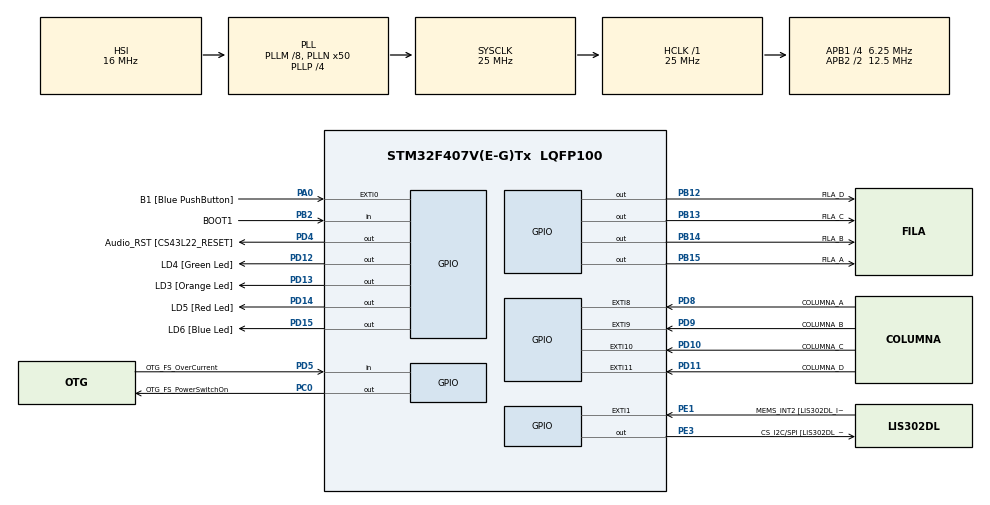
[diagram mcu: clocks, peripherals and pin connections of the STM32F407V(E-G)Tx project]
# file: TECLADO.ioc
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Mcu.Family=STM32F4
Mcu.Name=STM32F407V(E-G)Tx
Mcu.Package=LQFP100
NVIC.EXTI15_10_IRQn=true\:0\:0\:false\:false\:true\:true\:true\:true
NVIC.EXTI9_5_IRQn=true\:0\:0\:false\:false\:true\:true\:true\:true
NVIC.PriorityGroup=NVIC_PRIORITYGROUP_0
PA0-WKUP.GPIO_Label=B1 [Blue PushButton]
PA0-WKUP.Signal=GPXTI0
PA10.GPIO_Label=OTG_FS_ID
PA10.GPIO_Mode=GPIO_MODE_AF_PP
PA10.GPIO_PuPd=GPIO_NOPULL
PA10.GPIO_Speed=GPIO_SPEED_FREQ_LOW
PA10.Signal=USB_OTG_FS_ID
PA11.GPIO_Label=OTG_FS_DM
PA11.GPIO_Mode=GPIO_MODE_AF_PP
PA11.GPIO_PuPd=GPIO_NOPULL
PA11.GPIO_Speed=GPIO_SPEED_FREQ_LOW
PA11.Signal=USB_OTG_FS_DM
PA12.GPIO_Label=OTG_FS_DP
PA12.GPIO_Mode=GPIO_MODE_AF_PP
PA12.GPIO_PuPd=GPIO_NOPULL
PA12.GPIO_Speed=GPIO_SPEED_FREQ_LOW
PA12.Signal=USB_OTG_FS_DP
PA13.GPIO_Label=SWDIO
PA13.Signal=SYS_JTMS-SWDIO
PA14.GPIO_Label=SWCLK
PA14.Signal=SYS_JTCK-SWCLK
PA4.GPIO_Label=I2S3_WS [CS43L22_LRCK]
PA4.GPIO_Mode=GPIO_MODE_AF_PP
PA4.GPIO_PuPd=GPIO_NOPULL
PA4.GPIO_Speed=GPIO_SPEED_FREQ_LOW
PA4.Signal=I2S3_WS
PA5.GPIO_Label=SPI1_SCK [LIS302DL_SCL/SPC]
PA5.GPIO_Mode=GPIO_MODE_AF_PP
PA5.GPIO_PuPd=GPIO_NOPULL
PA5.GPIO_Speed=GPIO_SPEED_FREQ_LOW
PA5.Signal=SPI1_SCK
PA6.GPIO_Label=SPI1_MISO [LIS302DL_SDO]
PA6.GPIO_Mode=GPIO_MODE_AF_PP
PA6.GPIO_PuPd=GPIO_NOPULL
PA6.GPIO_Speed=GPIO_SPEED_FREQ_LOW
PA6.Signal=SPI1_MISO
PA7.GPIO_Label=SPI1_MOSI [LIS302DL_SDA/SDI/SDO]
PA7.GPIO_Mode=GPIO_MODE_AF_PP
PA7.GPIO_PuPd=GPIO_NOPULL
PA7.GPIO_Speed=GPIO_SPEED_FREQ_LOW
PA7.Signal=SPI1_MOSI
PA9.GPIO_Label=VBUS_FS
PA9.GPIO_Mode=GPIO_MODE_INPUT
PA9.GPIO_PuPd=GPIO_NOPULL
PA9.Signal=USB_OTG_FS_VBUS
PB10.GPIO_Label=CLK_IN [MP45DT02_CLK]
PB10.GPIO_Mode=GPIO_MODE_AF_PP
PB10.GPIO_PuPd=GPIO_NOPULL
PB10.GPIO_Speed=GPIO_SPEED_FREQ_LOW
PB10.Signal=I2S2_CK
PB12.GPIO_Label=FILA_D
PB12.Signal=GPIO_Output
PB13.GPIO_Label=FILA_C
PB13.Signal=GPIO_Output
PB14.GPIO_Label=FILA_B
PB14.Signal=GPIO_Output
PB15.GPIO_Label=FILA_A
PB15.Signal=GPIO_Output
PB2.GPIO_Label=BOOT1
PB2.GPIO_Mode=GPIO_MODE_INPUT
PB2.GPIO_PuPd=GPIO_NOPULL
PB2.Signal=GPIO_Input
PB3.GPIO_Label=SWO
PB3.Signal=SYS_JTDO-SWO
PB6.GPIO_Label=Audio_SCL [CS43L22_SCL]
PB6.GPIO_Mode=GPIO_MODE_AF_OD
PB6.GPIO_PuPd=GPIO_NOPULL
PB6.GPIO_Speed=GPIO_SPEED_FREQ_LOW
PB6.Signal=I2C1_SCL
PB9.GPIO_Label=Audio_SDA [CS43L22_SDA]
PB9.GPIO_Mode=GPIO_MODE_AF_OD
PB9.GPIO_PuPd=GPIO_NOPULL
PB9.GPIO_Speed=GPIO_SPEED_FREQ_LOW
PB9.Signal=I2C1_SDA
PC0.GPIO_Label=OTG_FS_PowerSwitchOn
PC0.GPIO_PuPd=GPIO_NOPULL
PC0.GPIO_Speed=GPIO_SPEED_FREQ_LOW
PC0.PinState=GPIO_PIN_SET
PC0.Signal=GPIO_Output
PC10.GPIO_Label=I2S3_SCK [CS43L22_SCLK]
PC10.GPIO_Mode=GPIO_MODE_AF_PP
PC10.GPIO_PuPd=GPIO_NOPULL
PC10.GPIO_Speed=GPIO_SPEED_FREQ_LOW
PC10.Signal=I2S3_CK
PC12.GPIO_Label=I2S3_SD [CS43L22_SDIN]
PC12.GPIO_Mode=GPIO_MODE_AF_PP
PC12.GPIO_PuPd=GPIO_NOPULL
PC12.GPIO_Speed=GPIO_SPEED_FREQ_LOW
PC12.Signal=I2S3_SD
PC14-OSC32_IN.GPIO_Label=PC14-OSC32_IN
PC14-OSC32_IN.Signal=RCC_OSC32_IN
PC15-OSC32_OUT.GPIO_Label=PC15-OSC32_OUT
PC15-OSC32_OUT.Signal=RCC_OSC32_OUT
PC3.GPIO_Label=PDM_OUT [MP45DT02_DOUT]
PC3.GPIO_Mode=GPIO_MODE_AF_PP
PC3.GPIO_PuPd=GPIO_NOPULL
PC3.GPIO_Speed=GPIO_SPEED_FREQ_LOW
PC3.Signal=I2S2_SD
PC7.GPIO_Label=I2S3_MCK [CS43L22_MCLK]
PC7.GPIO_Mode=GPIO_MODE_AF_PP
PC7.GPIO_PuPd=GPIO_NOPULL
PC7.GPIO_Speed=GPIO_SPEED_FREQ_LOW
PC7.Signal=I2S3_MCK
PD10.GPIO_Label=COLUMNA_C
PD10.GPIO_ModeDefaultEXTI=GPIO_MODE_IT_RISING
PD10.Signal=GPXTI10
PD11.GPIO_Label=COLUMNA_D
PD11.Signal=GPXTI11
PD12.GPIO_Label=LD4 [Green Led]
PD12.GPIO_PuPd=GPIO_NOPULL
PD12.GPIO_Speed=GPIO_SPEED_FREQ_LOW
PD12.Signal=GPIO_Output
PD13.GPIO_Label=LD3 [Orange Led]
PD13.GPIO_PuPd=GPIO_NOPULL
PD13.GPIO_Speed=GPIO_SPEED_FREQ_LOW
PD13.Signal=GPIO_Output
PD14.GPIO_Label=LD5 [Red Led]
PD14.GPIO_PuPd=GPIO_NOPULL
PD14.GPIO_Speed=GPIO_SPEED_FREQ_LOW
PD14.Signal=GPIO_Output
PD15.GPIO_Label=LD6 [Blue Led]
PD15.GPIO_PuPd=GPIO_NOPULL
PD15.GPIO_Speed=GPIO_SPEED_FREQ_LOW
PD15.Signal=GPIO_Output
PD4.GPIO_Label=Audio_RST [CS43L22_RESET]
PD4.GPIO_PuPd=GPIO_NOPULL
PD4.GPIO_Speed=GPIO_SPEED_FREQ_LOW
PD4.Signal=GPIO_Output
PD5.GPIO_Label=OTG_FS_OverCurrent
PD5.GPIO_Mode=GPIO_MODE_INPUT
PD5.GPIO_PuPd=GPIO_NOPULL
PD5.Signal=GPIO_Input
PD8.GPIO_Label=COLUMNA_A
PD8.GPIO_ModeDefaultEXTI=GPIO_MODE_IT_RISING
PD8.Signal=GPXTI8
PD9.GPIO_Label=COLUMNA_B
PD9.GPIO_ModeDefaultEXTI=GPIO_MODE_IT_RISING
PD9.Signal=GPXTI9
PE1.GPIO_Label=MEMS_INT2 [LIS302DL_INT2]
PE1.GPIO_ModeDefaultEXTI=GPIO_MODE_EVT_RISING
PE1.GPIO_PuPd=GPIO_NOPULL
PE1.Signal=GPXTI1
PE3.GPIO_Label=CS_I2C/SPI [LIS302DL_CS_I2C/SPI]
PE3.GPIO_PuPd=GPIO_NOPULL
PE3.GPIO_Speed=GPIO_SPEED_FREQ_LOW
PE3.Signal=GPIO_Output
PH0-OSC_IN.GPIO_Label=PH0-OSC_IN
PH0-OSC_IN.Signal=RCC_OSC_IN
PH1-OSC_OUT.GPIO_Label=PH1-OSC_OUT
PH1-OSC_OUT.Signal=RCC_OSC_OUT
ProjectManager.HeapSize=0x200
ProjectManager.StackSize=0x400
ProjectManager.TargetToolchain=EWARM V8.50
RCC.48MHZClocksFreq_Value=14285714.285714285
RCC.AHBFreq_Value=25000000
RCC.APB1CLKDivider=RCC_HCLK_DIV4
RCC.APB1Freq_Value=6250000
RCC.APB1TimFreq_Value=12500000
RCC.APB2CLKDivider=RCC_HCLK_DIV2
RCC.APB2Freq_Value=12500000
RCC.APB2TimFreq_Value=25000000
RCC.CortexFreq_Value=25000000
RCC.HCLKFreq_Value=25000000
RCC.HSE_VALUE=8000000
RCC.HSI_VALUE=16000000
RCC.LSE_VALUE=32768
RCC.PLLM=8
RCC.PLLN=50
RCC.PLLP=RCC_PLLP_DIV4
RCC.PLLQ=7
RCC.SYSCLKFreq_VALUE=25000000
RCC.SYSCLKSource=RCC_SYSCLKSOURCE_PLLCLK
RCC.VCOOutputFreq_Value=100000000
board=STM32F407G-DISC1

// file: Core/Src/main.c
/* USER CODE BEGIN Header */
/**
  ******************************************************************************
  * @file           : main.c
  * @brief          : Main program body
  ******************************************************************************
  * @attention
  *
  * Copyright (c) 2026 STMicroelectronics.
  * All rights reserved.
  *
  * This software is licensed under terms that can be found in the LICENSE file
  * in the root directory of this software component.
  * If no LICENSE file comes with this software, it is provided AS-IS.
  *
  ******************************************************************************
  */
/* USER CODE END Header */
#include "main.h"

/* USER CODE BEGIN PD */

//ESTO ESTA EN EL "main.h"

//#define FILA_D_Pin GPIO_PIN_12
//#define FILA_D_GPIO_Port GPIOB

//#define FILA_C_Pin GPIO_PIN_13
//#define FILA_C_GPIO_Port GPIOB

//#define FILA_B_Pin GPIO_PIN_14
//#define FILA_B_GPIO_Port GPIOB

//#define FILA_A_Pin GPIO_PIN_15
//#define FILA_A_GPIO_Port GPIOB

//#define COLUMNA_A_Pin GPIO_PIN_8
//#define COLUMNA_A_GPIO_Port GPIOD

//#define COLUMNA_B_Pin GPIO_PIN_9
//#define COLUMNA_B_GPIO_Port GPIOD

//#define COLUMNA_C_Pin GPIO_PIN_10
//#define COLUMNA_C_GPIO_Port GPIOD

//#define COLUMNA_D_Pin GPIO_PIN_11
//#define COLUMNA_D_GPIO_Port GPIOD

//#define LD6_Pin GPIO_PIN_15
//#define LD6_GPIO_Port GPIOD

/* USER CODE END PD */

/* USER CODE BEGIN PV */
volatile uint32_t ultimo_rebote = 0;
volatile uint8_t teclado_flag = 0;

//Determina que columna llama a interrupcion
//0 => ya se atendio/ninguna llama
//1 => columna A
//2 => columna B
//3 => columna C
//4 => columna D
uint8_t teclado_column = 0;

// Determina que tecla se apreto
//	0	1	2	3
//	4	5	6	7
//	8	9	10	11
//	12	13	14	15
// 					16 ninguna
uint8_t Teclado_Accionado = 16;

/* USER CODE END PV */

void SystemClock_Config(void);
static void MX_GPIO_Init(void);

int main(void)
{

  /* MCU Configuration--------------------------------------------------------*/

  /* Reset of all peripherals, Initializes the Flash interface and the Systick. */
  HAL_Init();

  /* USER CODE BEGIN Init */
  INICIO_TECLADO();
  /* USER CODE END Init */

  /* Configure the system clock */
  SystemClock_Config();

  /* Initialize all configured peripherals */
  MX_GPIO_Init();

  /* Infinite loop */
  while (1)
  {

	  VERIFICAR_TECLA(teclado_column);

	  if (Teclado_Accionado == 0)
		  HAL_GPIO_WritePin(LD6_GPIO_Port, LD6_Pin, GPIO_PIN_SET);
	  if (Teclado_Accionado == 1)
		  HAL_GPIO_WritePin(LD6_GPIO_Port, LD6_Pin, GPIO_PIN_RESET);

  }
}

void SystemClock_Config(void)
{
  RCC_OscInitTypeDef RCC_OscInitStruct = {0};
  RCC_ClkInitTypeDef RCC_ClkInitStruct = {0};

  /** Configure the main internal regulator output voltage
  */
  __HAL_RCC_PWR_CLK_ENABLE();
  __HAL_PWR_VOLTAGESCALING_CONFIG(PWR_REGULATOR_VOLTAGE_SCALE1);

  /** Initializes the RCC Oscillators according to the specified parameters
  * in the RCC_OscInitTypeDef structure.
  */
  RCC_OscInitStruct.OscillatorType = RCC_OSCILLATORTYPE_HSI;
  RCC_OscInitStruct.HSIState = RCC_HSI_ON;
  RCC_OscInitStruct.HSICalibrationValue = RCC_HSICALIBRATION_DEFAULT;
  RCC_OscInitStruct.PLL.PLLState = RCC_PLL_ON;
  RCC_OscInitStruct.PLL.PLLSource = RCC_PLLSOURCE_HSI;
  RCC_OscInitStruct.PLL.PLLM = 8;
  RCC_OscInitStruct.PLL.PLLN = 50;
  RCC_OscInitStruct.PLL.PLLP = RCC_PLLP_DIV4;
  RCC_OscInitStruct.PLL.PLLQ = 7;
  if (HAL_RCC_OscConfig(&RCC_OscInitStruct) != HAL_OK)
  {
    Error_Handler();
  }

  /** Initializes the CPU, AHB and APB buses clocks
  */
  RCC_ClkInitStruct.ClockType = RCC_CLOCKTYPE_HCLK|RCC_CLOCKTYPE_SYSCLK
                              |RCC_CLOCKTYPE_PCLK1|RCC_CLOCKTYPE_PCLK2;
  RCC_ClkInitStruct.SYSCLKSource = RCC_SYSCLKSOURCE_PLLCLK;
  RCC_ClkInitStruct.AHBCLKDivider = RCC_SYSCLK_DIV1;
  RCC_ClkInitStruct.APB1CLKDivider = RCC_HCLK_DIV4;
  RCC_ClkInitStruct.APB2CLKDivider = RCC_HCLK_DIV2;

  if (HAL_RCC_ClockConfig(&RCC_ClkInitStruct, FLASH_LATENCY_0) != HAL_OK)
  {
    Error_Handler();
  }
}

static void MX_GPIO_Init(void)
{
  GPIO_InitTypeDef GPIO_InitStruct = {0};

  /* GPIO Ports Clock Enable */
  __HAL_RCC_GPIOE_CLK_ENABLE();
  __HAL_RCC_GPIOC_CLK_ENABLE();
  __HAL_RCC_GPIOH_CLK_ENABLE();
  __HAL_RCC_GPIOA_CLK_ENABLE();
  __HAL_RCC_GPIOB_CLK_ENABLE();
  __HAL_RCC_GPIOD_CLK_ENABLE();

  /*Configure GPIO pin Output Level */
  HAL_GPIO_WritePin(CS_I2C_SPI_GPIO_Port, CS_I2C_SPI_Pin, GPIO_PIN_RESET);

  /*Configure GPIO pin Output Level */
  HAL_GPIO_WritePin(OTG_FS_PowerSwitchOn_GPIO_Port, OTG_FS_PowerSwitchOn_Pin, GPIO_PIN_SET);

  /*Configure GPIO pin Output Level */
  HAL_GPIO_WritePin(GPIOB, FILA_D_Pin|FILA_C_Pin|FILA_B_Pin|FILA_A_Pin, GPIO_PIN_RESET);

  /*Configure GPIO pin Output Level */
  HAL_GPIO_WritePin(GPIOD, LD4_Pin|LD3_Pin|LD5_Pin|LD6_Pin
                          |Audio_RST_Pin, GPIO_PIN_RESET);

  /*Configure GPIO pin : CS_I2C_SPI_Pin */
  GPIO_InitStruct.Pin = CS_I2C_SPI_Pin;
  GPIO_InitStruct.Mode = GPIO_MODE_OUTPUT_PP;
  GPIO_InitStruct.Pull = GPIO_NOPULL;
  GPIO_InitStruct.Speed = GPIO_SPEED_FREQ_LOW;
  HAL_GPIO_Init(CS_I2C_SPI_GPIO_Port, &GPIO_InitStruct);

  /*Configure GPIO pin : OTG_FS_PowerSwitchOn_Pin */
  GPIO_InitStruct.Pin = OTG_FS_PowerSwitchOn_Pin;
  GPIO_InitStruct.Mode = GPIO_MODE_OUTPUT_PP;
  GPIO_InitStruct.Pull = GPIO_NOPULL;
  GPIO_InitStruct.Speed = GPIO_SPEED_FREQ_LOW;
  HAL_GPIO_Init(OTG_FS_PowerSwitchOn_GPIO_Port, &GPIO_InitStruct);

  /*Configure GPIO pin : PDM_OUT_Pin */
  GPIO_InitStruct.Pin = PDM_OUT_Pin;
  GPIO_InitStruct.Mode = GPIO_MODE_AF_PP;
  GPIO_InitStruct.Pull = GPIO_NOPULL;
  GPIO_InitStruct.Speed = GPIO_SPEED_FREQ_LOW;
  GPIO_InitStruct.Alternate = GPIO_AF5_SPI2;
  HAL_GPIO_Init(PDM_OUT_GPIO_Port, &GPIO_InitStruct);

  /*Configure GPIO pin : B1_Pin */
  GPIO_InitStruct.Pin = B1_Pin;
  GPIO_InitStruct.Mode = GPIO_MODE_IT_RISING;
  GPIO_InitStruct.Pull = GPIO_NOPULL;
  HAL_GPIO_Init(B1_GPIO_Port, &GPIO_InitStruct);

  /*Configure GPIO pin : I2S3_WS_Pin */
  GPIO_InitStruct.Pin = I2S3_WS_Pin;
  GPIO_InitStruct.Mode = GPIO_MODE_AF_PP;
  GPIO_InitStruct.Pull = GPIO_NOPULL;
  GPIO_InitStruct.Speed = GPIO_SPEED_FREQ_LOW;
  GPIO_InitStruct.Alternate = GPIO_AF6_SPI3;
  HAL_GPIO_Init(I2S3_WS_GPIO_Port, &GPIO_InitStruct);

  /*Configure GPIO pins : SPI1_SCK_Pin SPI1_MISO_Pin SPI1_MOSI_Pin */
  GPIO_InitStruct.Pin = SPI1_SCK_Pin|SPI1_MISO_Pin|SPI1_MOSI_Pin;
  GPIO_InitStruct.Mode = GPIO_MODE_AF_PP;
  GPIO_InitStruct.Pull = GPIO_NOPULL;
  GPIO_InitStruct.Speed = GPIO_SPEED_FREQ_LOW;
  GPIO_InitStruct.Alternate = GPIO_AF5_SPI1;
  HAL_GPIO_Init(GPIOA, &GPIO_InitStruct);

  /*Configure GPIO pin : BOOT1_Pin */
  GPIO_InitStruct.Pin = BOOT1_Pin;
  GPIO_InitStruct.Mode = GPIO_MODE_INPUT;
  GPIO_InitStruct.Pull = GPIO_NOPULL;
  HAL_GPIO_Init(BOOT1_GPIO_Port, &GPIO_InitStruct);

  /*Configure GPIO pin : CLK_IN_Pin */
  GPIO_InitStruct.Pin = CLK_IN_Pin;
  GPIO_InitStruct.Mode = GPIO_MODE_AF_PP;
  GPIO_InitStruct.Pull = GPIO_NOPULL;
  GPIO_InitStruct.Speed = GPIO_SPEED_FREQ_LOW;
  GPIO_InitStruct.Alternate = GPIO_AF5_SPI2;
  HAL_GPIO_Init(CLK_IN_GPIO_Port, &GPIO_InitStruct);

  /*Configure GPIO pins : FILA_D_Pin FILA_C_Pin FILA_B_Pin FILA_A_Pin */
  GPIO_InitStruct.Pin = FILA_D_Pin|FILA_C_Pin|FILA_B_Pin|FILA_A_Pin;
  GPIO_InitStruct.Mode = GPIO_MODE_OUTPUT_PP;
  GPIO_InitStruct.Pull = GPIO_NOPULL;
  GPIO_InitStruct.Speed = GPIO_SPEED_FREQ_LOW;
  HAL_GPIO_Init(GPIOB, &GPIO_InitStruct);

  /*Configure GPIO pins : COLUMNA_A_Pin COLUMNA_B_Pin COLUMNA_C_Pin COLUMNA_D_Pin */
  GPIO_InitStruct.Pin = COLUMNA_A_Pin|COLUMNA_B_Pin|COLUMNA_C_Pin|COLUMNA_D_Pin;
  GPIO_InitStruct.Mode = GPIO_MODE_IT_RISING;
  GPIO_InitStruct.Pull = GPIO_NOPULL;
  HAL_GPIO_Init(GPIOD, &GPIO_InitStruct);

  /*Configure GPIO pins : LD4_Pin LD3_Pin LD5_Pin LD6_Pin
                           Audio_RST_Pin */
  GPIO_InitStruct.Pin = LD4_Pin|LD3_Pin|LD5_Pin|LD6_Pin
                          |Audio_RST_Pin;
  GPIO_InitStruct.Mode = GPIO_MODE_OUTPUT_PP;
  GPIO_InitStruct.Pull = GPIO_NOPULL;
  GPIO_InitStruct.Speed = GPIO_SPEED_FREQ_LOW;
  HAL_GPIO_Init(GPIOD, &GPIO_InitStruct);

  /*Configure GPIO pins : I2S3_MCK_Pin I2S3_SCK_Pin I2S3_SD_Pin */
  GPIO_InitStruct.Pin = I2S3_MCK_Pin|I2S3_SCK_Pin|I2S3_SD_Pin;
  GPIO_InitStruct.Mode = GPIO_MODE_AF_PP;
  GPIO_InitStruct.Pull = GPIO_NOPULL;
  GPIO_InitStruct.Speed = GPIO_SPEED_FREQ_LOW;
  GPIO_InitStruct.Alternate = GPIO_AF6_SPI3;
  HAL_GPIO_Init(GPIOC, &GPIO_InitStruct);

  /*Configure GPIO pin : VBUS_FS_Pin */
  GPIO_InitStruct.Pin = VBUS_FS_Pin;
  GPIO_InitStruct.Mode = GPIO_MODE_INPUT;
  GPIO_InitStruct.Pull = GPIO_NOPULL;
  HAL_GPIO_Init(VBUS_FS_GPIO_Port, &GPIO_InitStruct);

  /*Configure GPIO pins : OTG_FS_ID_Pin OTG_FS_DM_Pin OTG_FS_DP_Pin */
  GPIO_InitStruct.Pin = OTG_FS_ID_Pin|OTG_FS_DM_Pin|OTG_FS_DP_Pin;
  GPIO_InitStruct.Mode = GPIO_MODE_AF_PP;
  GPIO_InitStruct.Pull = GPIO_NOPULL;
  GPIO_InitStruct.Speed = GPIO_SPEED_FREQ_LOW;
  GPIO_InitStruct.Alternate = GPIO_AF10_OTG_FS;
  HAL_GPIO_Init(GPIOA, &GPIO_InitStruct);

  /*Configure GPIO pin : OTG_FS_OverCurrent_Pin */
  GPIO_InitStruct.Pin = OTG_FS_OverCurrent_Pin;
  GPIO_InitStruct.Mode = GPIO_MODE_INPUT;
  GPIO_InitStruct.Pull = GPIO_NOPULL;
  HAL_GPIO_Init(OTG_FS_OverCurrent_GPIO_Port, &GPIO_InitStruct);

  /*Configure GPIO pins : Audio_SCL_Pin Audio_SDA_Pin */
  GPIO_InitStruct.Pin = Audio_SCL_Pin|Audio_SDA_Pin;
  GPIO_InitStruct.Mode = GPIO_MODE_AF_OD;
  GPIO_InitStruct.Pull = GPIO_NOPULL;
  GPIO_InitStruct.Speed = GPIO_SPEED_FREQ_LOW;
  GPIO_InitStruct.Alternate = GPIO_AF4_I2C1;
  HAL_GPIO_Init(GPIOB, &GPIO_InitStruct);

  /*Configure GPIO pin : MEMS_INT2_Pin */
  GPIO_InitStruct.Pin = MEMS_INT2_Pin;
  GPIO_InitStruct.Mode = GPIO_MODE_EVT_RISING;
  GPIO_InitStruct.Pull = GPIO_NOPULL;
  HAL_GPIO_Init(MEMS_INT2_GPIO_Port, &GPIO_InitStruct);

  /* EXTI interrupt init*/
  HAL_NVIC_SetPriority(EXTI9_5_IRQn, 0, 0);
  HAL_NVIC_EnableIRQ(EXTI9_5_IRQn);

  HAL_NVIC_SetPriority(EXTI15_10_IRQn, 0, 0);
  HAL_NVIC_EnableIRQ(EXTI15_10_IRQn);

}

/* USER CODE BEGIN 4 */

//INICIALIZO FILAS EN 1 (SET)
void INICIO_TECLADO(void)
{
	HAL_GPIO_WritePin(FILA_A_GPIO_Port, FILA_A_Pin, GPIO_PIN_SET);
	HAL_GPIO_WritePin(FILA_B_GPIO_Port, FILA_B_Pin, GPIO_PIN_SET);
	HAL_GPIO_WritePin(FILA_C_GPIO_Port, FILA_C_Pin, GPIO_PIN_SET);
	HAL_GPIO_WritePin(FILA_D_GPIO_Port, FILA_D_Pin, GPIO_PIN_SET);
}

// ESTA FUNCION ATIENDE INTERRUPCIONES DE TECLADO
// ES UNICO CALLBACK PARA ""TODAS"" LAS INTERRUPCIONES
void HAL_GPIO_EXTI_Callback(uint16_t GPIO_Pin)
{
	// CODIGO:
	// Antirrebote + flags
	// Al llamarse la interrupcion solo indica que columna fue apretada mediante un flag, dentro del While
	// se llama a la funcion VERIFICAR_TECLA de columna X

	// Esto es antirrebote, si dentro de 20 ms se vuelve a llamar a interrupcion, entonces esa llamada es ignorada
	uint32_t ahora = HAL_GetTick();

	if ((ahora - ultimo_rebote) < 20)
		return;

	ultimo_rebote = ahora;

    // si GPIO_Pin_X entonces FLAG de COLUMNA de X

	if(GPIO_Pin == COLUMNA_A_Pin)
	    {
	        // Interrupción de COL_A
			teclado_column = 1;
	    }
	if(GPIO_Pin == COLUMNA_B_Pin)
	    {
	        // Interrupción de COL_B
			teclado_column = 2;
	    }
	if(GPIO_Pin == COLUMNA_C_Pin)
	    {
	        // Interrupción de COL_C
			teclado_column = 3;
	    }
	if(GPIO_Pin == COLUMNA_D_Pin)
	    {
	        // Interrupción de COL_D
			teclado_column = 4;
	    }
}

// ESTA FUNCION VERIFICA QUE TECLA SE APRETO, DEPENDE DE FLAG DE "X"
// POSIBLE PROBLEMA, WRITE NO LLEGA A CONMUTAR LO SUF RAPIDO, ENTONCES NO LLEGA A LEER (READ) CORRECTAMENTE
// SI ESO OCURRE ENTONCES HAL_DELAY(1) PONELE ANTES DE LA LECTURA
void VERIFICAR_TECLA(uint8_t teclado_column)
{
	// Esta funcion chequea fila por fila que boton de que columna es accionado
	// devuelve en Teclado_Accionado el valor de cual boton fue el apretado
	// OJO: Luego de atender al boton, volver a setear Teclado_Accionado en 16 para evitar doble lectura

	switch(teclado_column){

		// si teclado_column = 0, no hace nada
		case 0: return;

		//CHECKEO SOLO COLUMNA A
		case 1:
		{
			// Accion sobre MT(0,0) o 0
			HAL_GPIO_WritePin(FILA_A_GPIO_Port, FILA_A_Pin, GPIO_PIN_RESET);
			if (HAL_GPIO_ReadPin(COLUMNA_A_GPIO_Port, COLUMNA_A_Pin) == GPIO_PIN_RESET){
				Teclado_Accionado = 0;
				break;
			}
			HAL_GPIO_WritePin(FILA_A_GPIO_Port, FILA_A_Pin, GPIO_PIN_SET);

			// Accion sobre MT(1,0) o 4
			HAL_GPIO_WritePin(FILA_B_GPIO_Port, FILA_B_Pin, GPIO_PIN_RESET);
			if (HAL_GPIO_ReadPin(COLUMNA_A_GPIO_Port, COLUMNA_A_Pin) == GPIO_PIN_RESET){
				Teclado_Accionado = 4;
				break;
			}
			HAL_GPIO_WritePin(FILA_B_GPIO_Port, FILA_B_Pin, GPIO_PIN_SET);

			// Accion sobre MT(2,0) o 8
			HAL_GPIO_WritePin(FILA_C_GPIO_Port, FILA_C_Pin, GPIO_PIN_RESET);
			if (HAL_GPIO_ReadPin(COLUMNA_A_GPIO_Port, COLUMNA_A_Pin) == GPIO_PIN_RESET){
				Teclado_Accionado = 8;
				break;
			}
			HAL_GPIO_WritePin(FILA_C_GPIO_Port, FILA_C_Pin, GPIO_PIN_SET);

			// Accion sobre MT(3,0) o 12
			HAL_GPIO_WritePin(FILA_D_GPIO_Port, FILA_D_Pin, GPIO_PIN_RESET);
			if (HAL_GPIO_ReadPin(COLUMNA_A_GPIO_Port, COLUMNA_A_Pin) == GPIO_PIN_RESET){
				Teclado_Accionado = 12;
				break;
			}
			HAL_GPIO_WritePin(FILA_D_GPIO_Port, FILA_D_Pin, GPIO_PIN_SET);
		}

		//CHECKEO SOLO COLUMNA B
		case 2:
		{
			// Accion sobre MT(0,1) o 1
			HAL_GPIO_WritePin(FILA_A_GPIO_Port, FILA_A_Pin, GPIO_PIN_RESET);
			if (HAL_GPIO_ReadPin(COLUMNA_B_GPIO_Port, COLUMNA_B_Pin) == GPIO_PIN_RESET){
				Teclado_Accionado = 1;
				break;
			}
			HAL_GPIO_WritePin(FILA_A_GPIO_Port, FILA_A_Pin, GPIO_PIN_SET);

			// Accion sobre MT(1,1) o 5
			HAL_GPIO_WritePin(FILA_B_GPIO_Port, FILA_B_Pin, GPIO_PIN_RESET);
			if (HAL_GPIO_ReadPin(COLUMNA_B_GPIO_Port, COLUMNA_B_Pin) == GPIO_PIN_RESET){
				Teclado_Accionado = 5;
				break;
			}
			HAL_GPIO_WritePin(FILA_B_GPIO_Port, FILA_B_Pin, GPIO_PIN_SET);

			// Accion sobre MT(2,1) o 9
			HAL_GPIO_WritePin(FILA_C_GPIO_Port, FILA_C_Pin, GPIO_PIN_RESET);
			if (HAL_GPIO_ReadPin(COLUMNA_B_GPIO_Port, COLUMNA_B_Pin) == GPIO_PIN_RESET){
				Teclado_Accionado = 9;
				break;
			}
			HAL_GPIO_WritePin(FILA_C_GPIO_Port, FILA_C_Pin, GPIO_PIN_SET);

			// Accion sobre MT(3,1) o 13
			HAL_GPIO_WritePin(FILA_D_GPIO_Port, FILA_D_Pin, GPIO_PIN_RESET);
			if (HAL_GPIO_ReadPin(COLUMNA_B_GPIO_Port, COLUMNA_B_Pin) == GPIO_PIN_RESET){
				Teclado_Accionado = 13;
				break;
			}
			HAL_GPIO_WritePin(FILA_D_GPIO_Port, FILA_D_Pin, GPIO_PIN_SET);
		}

		//CHEQUEO SOLO COLUMNA C
		case 3:
		{
			// Accion sobre MT(0,2) o 2
			HAL_GPIO_WritePin(FILA_A_GPIO_Port, FILA_A_Pin, GPIO_PIN_RESET);
			if (HAL_GPIO_ReadPin(COLUMNA_C_GPIO_Port, COLUMNA_C_Pin) == GPIO_PIN_RESET){
				Teclado_Accionado = 2;
				break;
			}
			HAL_GPIO_WritePin(FILA_A_GPIO_Port, FILA_A_Pin, GPIO_PIN_SET);

			// Accion sobre MT(1,2) o 6
			HAL_GPIO_WritePin(FILA_B_GPIO_Port, FILA_B_Pin, GPIO_PIN_RESET);
			if (HAL_GPIO_ReadPin(COLUMNA_C_GPIO_Port, COLUMNA_C_Pin) == GPIO_PIN_RESET){
				Teclado_Accionado = 6;
				break;
			}
			HAL_GPIO_WritePin(FILA_B_GPIO_Port, FILA_B_Pin, GPIO_PIN_SET);

			// Accion sobre MT(2,2) o 10
			HAL_GPIO_WritePin(FILA_C_GPIO_Port, FILA_C_Pin, GPIO_PIN_RESET);
			if (HAL_GPIO_ReadPin(COLUMNA_C_GPIO_Port, COLUMNA_C_Pin) == GPIO_PIN_RESET){
				Teclado_Accionado = 10;
				break;
			}
			HAL_GPIO_WritePin(FILA_C_GPIO_Port, FILA_C_Pin, GPIO_PIN_SET);

			// Accion sobre MT(3,2) o 14
			HAL_GPIO_WritePin(FILA_D_GPIO_Port, FILA_D_Pin, GPIO_PIN_RESET);
			if (HAL_GPIO_ReadPin(COLUMNA_C_GPIO_Port, COLUMNA_C_Pin) == GPIO_PIN_RESET){
				Teclado_Accionado = 14;
				break;
			}
			HAL_GPIO_WritePin(FILA_D_GPIO_Port, FILA_D_Pin, GPIO_PIN_SET);
		}
		case 4:
		{
			// Accion sobre MT(0,3) o 3
			HAL_GPIO_WritePin(FILA_A_GPIO_Port, FILA_A_Pin, GPIO_PIN_RESET);
			if (HAL_GPIO_ReadPin(COLUMNA_D_GPIO_Port, COLUMNA_D_Pin) == GPIO_PIN_RESET){
				Teclado_Accionado = 3;
				break;
			}
			HAL_GPIO_WritePin(FILA_A_GPIO_Port, FILA_A_Pin, GPIO_PIN_SET);

			// Accion sobre MT(1,3) o 7
			HAL_GPIO_WritePin(FILA_B_GPIO_Port, FILA_B_Pin, GPIO_PIN_RESET);
			if (HAL_GPIO_ReadPin(COLUMNA_D_GPIO_Port, COLUMNA_D_Pin) == GPIO_PIN_RESET){
				Teclado_Accionado = 7;
				break;
			}
			HAL_GPIO_WritePin(FILA_B_GPIO_Port, FILA_B_Pin, GPIO_PIN_SET);

			// Accion sobre MT(2,3) o 11
			HAL_GPIO_WritePin(FILA_C_GPIO_Port, FILA_C_Pin, GPIO_PIN_RESET);
			if (HAL_GPIO_ReadPin(COLUMNA_D_GPIO_Port, COLUMNA_D_Pin) == GPIO_PIN_RESET){
				Teclado_Accionado = 11;
				break;
			}
			HAL_GPIO_WritePin(FILA_C_GPIO_Port, FILA_C_Pin, GPIO_PIN_SET);

			// Accion sobre MT(3,3) o 15
			HAL_GPIO_WritePin(FILA_D_GPIO_Port, FILA_D_Pin, GPIO_PIN_RESET);
			if (HAL_GPIO_ReadPin(COLUMNA_D_GPIO_Port, COLUMNA_D_Pin) == GPIO_PIN_RESET){
				Teclado_Accionado = 15;
				break;
			}
			HAL_GPIO_WritePin(FILA_D_GPIO_Port, FILA_D_Pin, GPIO_PIN_SET);
		}

		teclado_column = 0;
		INICIO_TECLADO();

	}

}

/* USER CODE END 4 */

void Error_Handler(void)
{
  __disable_irq();
  while (1)
  {
  }
}
